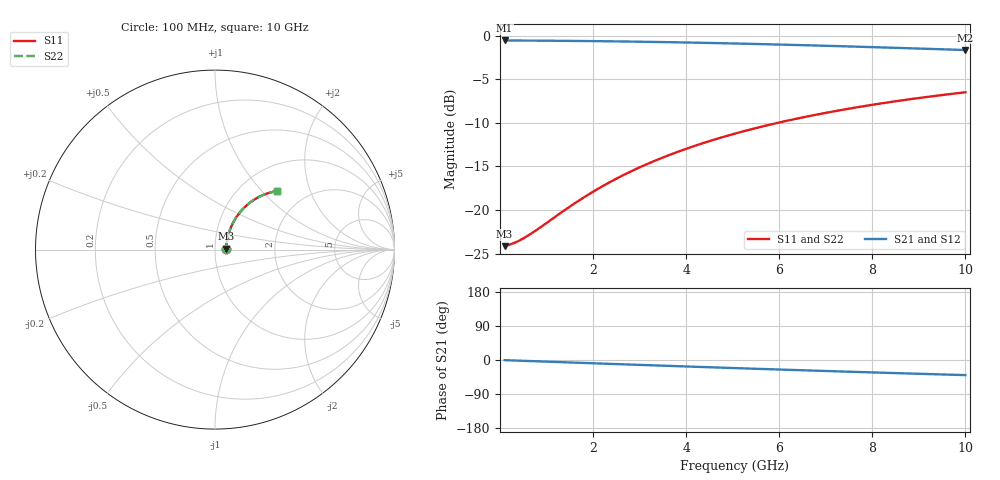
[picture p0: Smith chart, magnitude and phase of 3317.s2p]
# Hz S RI R 50.00
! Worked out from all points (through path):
!   100 points, 100 MHz to 10 GHz, reference 50 ohm
!   highest |S21| = -0.56 dB at 100 MHz (marker M1); lowest = -1.7 dB at 10 GHz (marker M2)
!   group delay of S21, straight-line fit = 11.1 ps
!   lowest |S11| = -24.1 dB at 100 MHz (marker M3), VSWR 1.13, Z = 56.6 + j0.58 ohm
!   |S11| at or under -10 dB: start of sweep to 5.966 GHz
!   |S22| runs from -24.1 to -6.5 dB; largest |S21 - S12| = 0
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1e8  0.0619 0.0051  0.9381 -0.00711  0.9381 -0.00711  0.0619 0.0051
2e8  0.0624 0.0102  0.9375 -0.0142  0.9375 -0.0142  0.0624 0.0102
3e8  0.0629 0.0153  0.9371 -0.0213  0.9371 -0.0213  0.0629 0.0153
4e8  0.0634 0.0203  0.9365 -0.0284  0.9365 -0.0284  0.0634 0.0203
6e8  0.0645 0.0305  0.9354 -0.0425  0.9354 -0.0425  0.0645 0.0305
8e8  0.0659 0.0405  0.9339 -0.0566  0.9339 -0.0566  0.0659 0.0405
1.5e9  0.0728 0.0753  0.9267 -0.1054  0.9267 -0.1054  0.0728 0.0753
1.8e9  0.0768 0.0898  0.9225 -0.126  0.9225 -0.126  0.0768 0.0898
2.2e9  0.083 0.1089  0.9159 -0.153  0.9159 -0.153  0.083 0.1089
2.6e9  0.0903 0.1274  0.9082 -0.1796  0.9082 -0.1796  0.0903 0.1274
3e9  0.0987 0.1454  0.8994 -0.2057  0.8994 -0.2057  0.0987 0.1454
3.4e9  0.108 0.1627  0.8896 -0.2311  0.8896 -0.2311  0.108 0.1627
3.8e9  0.1182 0.1794  0.8787 -0.2558  0.8787 -0.2558  0.1182 0.1794
4.2e9  0.1293 0.1952  0.867 -0.2798  0.867 -0.2798  0.1293 0.1952
4.6e9  0.1411 0.2103  0.8544 -0.303  0.8544 -0.303  0.1411 0.2103
5.1e9  0.157 0.228  0.8375 -0.3308  0.8375 -0.3308  0.157 0.228
5.9e9  0.1843 0.2533  0.8083 -0.3725  0.8083 -0.3725  0.1843 0.2533
6.7e9  0.2135 0.275  0.7769 -0.4106  0.7769 -0.4106  0.2135 0.275
7.5e9  0.2442 0.293  0.7438 -0.445  0.7438 -0.445  0.2442 0.293
8.4e9  0.2797 0.3088  0.7051 -0.4794  0.7051 -0.4794  0.2797 0.3088
9.2e9  0.3116 0.319  0.67 -0.5063  0.67 -0.5063  0.3116 0.319
1e10  0.3435 0.3258  0.6347 -0.5299  0.6347 -0.5299  0.3435 0.3258
